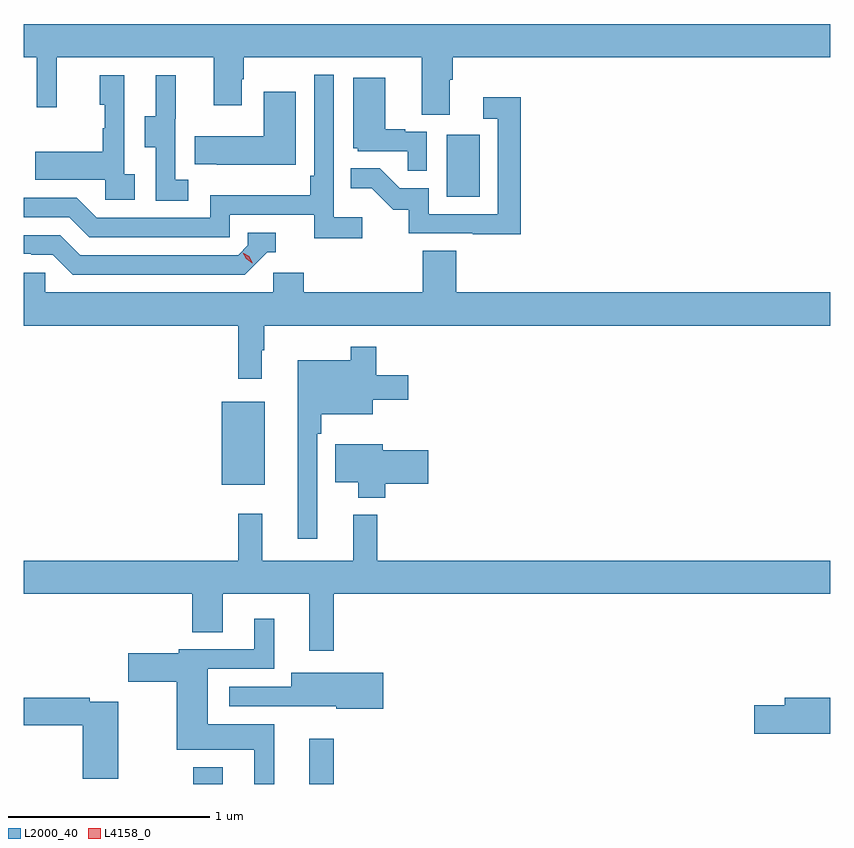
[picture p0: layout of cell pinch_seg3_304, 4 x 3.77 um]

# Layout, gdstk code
import gdstk
lib = gdstk.Library(unit=1e-6, precision=1e-09)
def R(c, l, rs):  # rectangles x0, y0, x1, y1
    for r in rs: c.add(gdstk.rectangle(r[:2], r[2:], *l))
def P(c, l, *ps):  # polygons
    for p in ps: c.add(gdstk.Polygon(p, *l))
L2000_40 = (2000, 40)
L4158_0 = (4158, 0)

pinch_seg3_304 = lib.new_cell('pinch_seg3_304')
R(pinch_seg3_304, L2000_40, [(961.306,709.297,961.453,709.381), (961.883,709.297,962.005,709.522), (961.448,710.783,961.663,711.193), (962.564,712.212,962.728,712.519)])
P(pinch_seg3_304, L2000_40, [(962.581,712.792),(962.594,712.792),(962.594,712.904),(964.467,712.904),(964.467,713.068),(960.467,713.068),(960.467,712.904),(960.531,712.904),(960.531,712.656),(960.629,712.656),(960.629,712.904),(961.409,712.904),(961.409,712.665),(961.549,712.665),(961.549,712.793),(961.557,712.793),(961.557,712.904),(962.441,712.904),(962.441,712.618),(962.581,712.618)],
  [(962.146,712.108),(962.004,712.108),(962.004,712.816),(961.908,712.816),(961.908,712.315),(961.888,712.315),(961.888,712.219),(961.392,712.219),(961.392,712.107),(960.828,712.107),(960.729,712.206),(960.467,712.206),(960.467,712.11),(960.692,712.11),(960.791,712.011),(961.488,712.011),(961.488,712.122),(961.907,712.122),(961.907,712.006),(962.146,712.006)],
  [(961.018,712.322),(960.966,712.322),(960.966,712.813),(960.842,712.813),(960.842,712.668),(960.868,712.668),(960.868,712.55),(960.858,712.55),(960.858,712.435),(960.523,712.435),(960.523,712.295),(960.87,712.295),(960.87,712.197),(961.018,712.197)],
  [(961.282,712.295),(961.218,712.295),(961.218,712.599),(961.22,712.599),(961.22,712.813),(961.121,712.813),(961.121,712.611),(961.067,712.611),(961.067,712.456),(961.122,712.456),(961.122,712.192),(961.282,712.192)],
  [(962.466,712.533),(962.36,712.533),(962.36,712.546),(962.26,712.546),(962.26,712.801),(962.102,712.801),(962.102,712.452),(962.124,712.452),(962.124,712.437),(962.371,712.437),(962.371,712.339),(962.466,712.339)],
  [(961.816,712.732),(961.658,712.732),(961.658,712.51),(961.315,712.51),(961.315,712.373),(961.423,712.373),(961.423,712.37),(961.816,712.37)],
  [(962.933,712.705),(962.745,712.705),(962.745,712.599),(962.817,712.599),(962.817,712.125),(962.475,712.125),(962.475,712.254),(962.331,712.254),(962.233,712.352),(962.089,712.352),(962.089,712.253),(962.193,712.253),(962.3,712.146),(962.377,712.146),(962.377,712.029),(962.695,712.029),(962.695,712.024),(962.933,712.024)],
  [(961.674,711.936),(961.717,711.936),(961.717,712.032),(961.578,712.032),(961.578,711.969),(961.53,711.921),(960.747,711.921),(960.648,712.02),(960.467,712.02),(960.467,711.927),(960.504,711.927),(960.504,711.924),(960.611,711.924),(960.71,711.825),(961.563,711.825)],
  [(960.573,711.834),(960.467,711.834),(960.467,711.572),(961.531,711.572),(961.531,711.309),(961.648,711.309),(961.648,711.449),(961.66,711.449),(961.66,711.572),(964.467,711.572),(964.467,711.736),(962.612,711.736),(962.612,711.944),(962.447,711.944),(962.447,711.736),(961.856,711.736),(961.856,711.834),(961.704,711.834),(961.704,711.736),(960.573,711.736)],
  [(961.923,711.035),(961.943,711.035),(961.943,711.131),(962.197,711.131),(962.197,711.203),(962.374,711.203),(962.374,711.325),(962.216,711.325),(962.216,711.466),(962.088,711.466),(962.088,711.4),(961.826,711.4),(961.826,710.514),(961.923,710.514)],
  [(962.261,710.788),(962.473,710.788),(962.473,710.953),(962.248,710.953),(962.248,710.983),(962.012,710.983),(962.012,710.795),(962.126,710.795),(962.126,710.717),(962.261,710.717)],
  [(962.005,710.24),(964.467,710.24),(964.467,710.404),(962.219,710.404),(962.219,710.632),(962.102,710.632),(962.102,710.404),(961.649,710.404),(961.649,710.638),(961.531,710.638),(961.531,710.404),(960.467,710.404),(960.467,710.24),(961.301,710.24),(961.301,710.05),(961.453,710.05),(961.453,710.24),(961.883,710.24),(961.883,709.959),(962.005,709.959)],
  [(961.708,709.594),(961.378,709.594),(961.378,709.869),(961.708,709.869),(961.708,710.116),(961.61,710.116),(961.61,709.965),(961.236,709.965),(961.236,709.947),(960.984,709.947),(960.984,709.805),(961.225,709.805),(961.225,709.466),(961.61,709.466),(961.61,709.297),(961.708,709.297)],
  [(962.251,709.848),(961.793,709.848),(961.793,709.779),(961.485,709.779),(961.485,709.683),(961.797,709.683),(961.797,709.682),(962.016,709.682),(962.016,709.67),(962.251,709.67)],
  [(960.936,709.704),(960.794,709.704),(960.794,709.724),(960.467,709.724),(960.467,709.588),(960.758,709.588),(960.758,709.323),(960.936,709.323)],
  [(964.467,709.724),(964.241,709.724),(964.241,709.688),(964.092,709.688),(964.092,709.546),(964.467,709.546)])
P(pinch_seg3_304, L4158_0, [(961.6,711.882),(961.57,711.902),(961.554,711.934),(961.554,711.934),(961.554,711.934),(961.585,711.915),(961.601,711.883),(961.601,711.882)])

lib.write_gds('pinch_seg3_304.gds')
